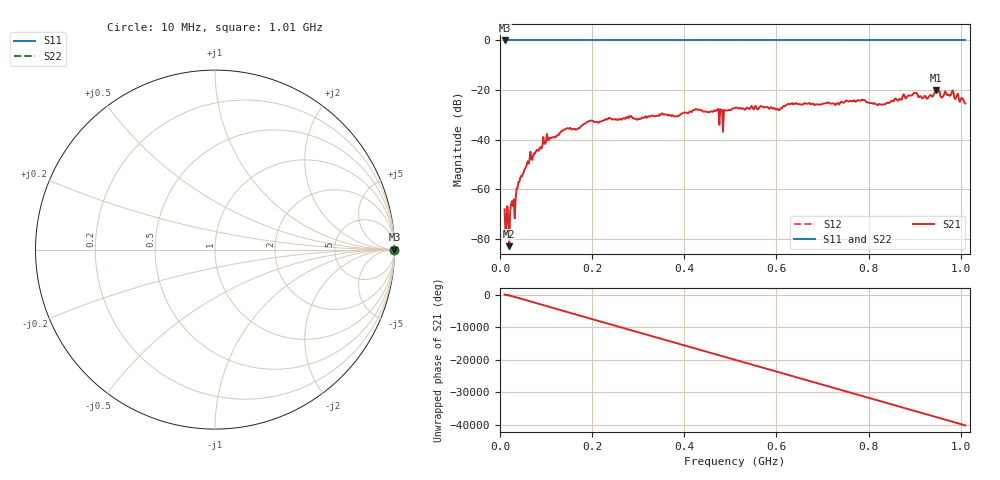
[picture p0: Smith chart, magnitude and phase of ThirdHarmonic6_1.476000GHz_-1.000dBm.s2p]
! 8/16/2025 5:14:01 PM
! C:\ANRITSUVNA\TEMP\TEMP.S2P
! CHANNEL.1
! TR.MEASUREMENT
! RAW.DATA
! RF.CORRECTION.OFF
! AVERAGING.OFF
! IF.BANDWIDTH: 5KHZ
! SWEEPTYPE:  FREQ.SWEEP(Linear)
! Reference Plane Port Info
! PORT:  PORT1  PORT2
! DISTANCE:  0  m  0  m
! TIME:  0  s  0  s
! PHASE.OFFSET:  0  deg.  0  deg.
! LOSS:  0  dB  0  dB
! REF.LOSS:  0  dB  0  dB
! REF.FREQ:  0  Hz  0  Hz
! Power Info
! POWER:  -20  dBm  -20  dBm
! EFF.POWER:  -20  dBm  -20  dBm
! SOURCE.ATTEN:  0  dB  0  dB
! TEST.ATTEN:  0  dB  0  dB
# GHZ S RI R 50.0
! FREQ.GHZ  S11RE  S11IM  S21RE  S21IM  S12RE  S12IM  S22RE  S22IM
!; PortSelection: Port_12
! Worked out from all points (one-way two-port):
!   501 points, 10 MHz to 1.01 GHz, reference 50 ohm
!   highest |S21| = -19.96 dB at 946 MHz (marker M1); lowest = -82.9 dB at 20 MHz (marker M2)
!   lowest |S11| = 0.0 dB at 10 MHz (marker M3)
!   |S11| at or under -10 dB: nowhere
!   |S22| runs from 0.0 to 0.0 dB; largest |S21 - S12| = 1.1
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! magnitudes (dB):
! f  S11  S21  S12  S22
! 10 MHz  0.0  -68.0  0.0  0.0
! 16 MHz  0.0  -66.8  0.0  0.0
! 20 MHz  0.0  -82.9  0.0  0.0
! 24 MHz  0.0  -66.1  0.0  0.0
! 26 MHz  0.0  -64.7  0.0  0.0
! 32 MHz  0.0  -71.6  0.0  0.0
! 40 MHz  0.0  -57.0  0.0  0.0
! 64 MHz  0.0  -48.1  0.0  0.0
! 98 MHz  0.0  -41.6  0.0  0.0
! 178 MHz  0.0  -34.3  0.0  0.0
! 344 MHz  0.0  -30.4  0.0  0.0
! 428 MHz  0.0  -27.9  0.0  0.0
! 470 MHz  0.0  -28.1  0.0  0.0
! 480 MHz  0.0  -27.8  0.0  0.0
! 490 MHz  0.0  -28.2  0.0  0.0
! 510 MHz  0.0  -27.2  0.0  0.0
! 678 MHz  0.0  -25.6  0.0  0.0
! 844 MHz  0.0  -25.2  0.0  0.0
! 946 MHz  0.0  -20.0  0.0  0.0
! 960 MHz  0.0  -22.9  0.0  0.0
! 980 MHz  0.0  -21.2  0.0  0.0
! 1.01 GHz  0.0  -25.4  0.0  0.0
